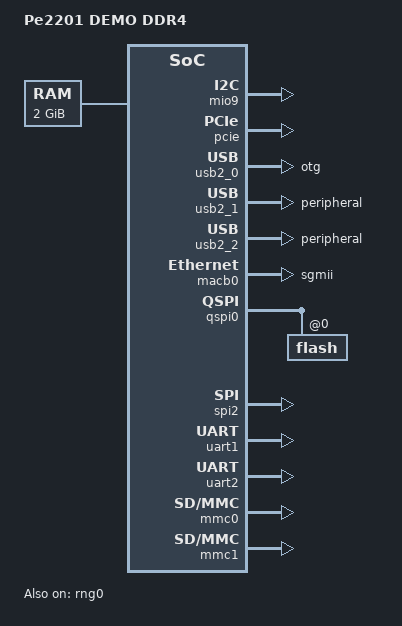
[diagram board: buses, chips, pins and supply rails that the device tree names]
// SPDX-License-Identifier: GPL-2.0
/*
 * DTS file for Phytium Pe2201 demo board
 *
 * Copyright (c) 2022-2023 Phytium Technology Co., Ltd.
 *
 * This program is free software; you can redistribute it and/or
 * modify it under the terms of the GNU General Public License as
 * published by the Free Software Foundation; either version 2 of
 * the License, or (at your option) any later version.
 */

/dts-v1/;
/memreserve/ 0x80000000 0x10000;

#include "pe2201.dtsi"

/{
	model = "Pe2201 DEMO DDR4";
	compatible = "phytium,pe2201";

	chosen {
		stdout-path = "serial1:115200n8";
	};

	memory@00{
		device_type = "memory";
		reg = <0x0 0x80000000 0x0 0x80000000>;
	};
};

&soc {
	mio9: i2c@28026000 {
		compatible = "phytium,i2c";
		reg = <0x0 0x28026000 0x0 0x1000>;
		interrupts = <GIC_SPI 101 IRQ_TYPE_LEVEL_HIGH>;
		clocks = <&sysclk_50mhz>;
		#address-cells = <1>;
		#size-cells = <0>;
		status = "okay";
	};
};

&pcie {
	status = "okay";
};

&usb2_0 {
	dr_mode = "otg";
	status = "okay";
};

&usb2_1 {
	dr_mode = "peripheral";
	status = "okay";
};

&usb2_2 {
	dr_mode = "peripheral";
	status = "okay";
};

&macb0 {
	phy-mode = "sgmii";
	use-mii;
	status = "okay";
};

&qspi0 {
	status = "okay";

	flash@0 {
		status = "okay";
	};
};

&spi2 {
	global-cs = <1>;
	status = "okay";
};

&uart1 {
	status = "okay";
};

&uart2 {
	status = "okay";
};

&mmc0 {
	status = "okay";
};

&mmc1 {
	status = "okay";
};

&rng0 {
	status = "okay";
};
